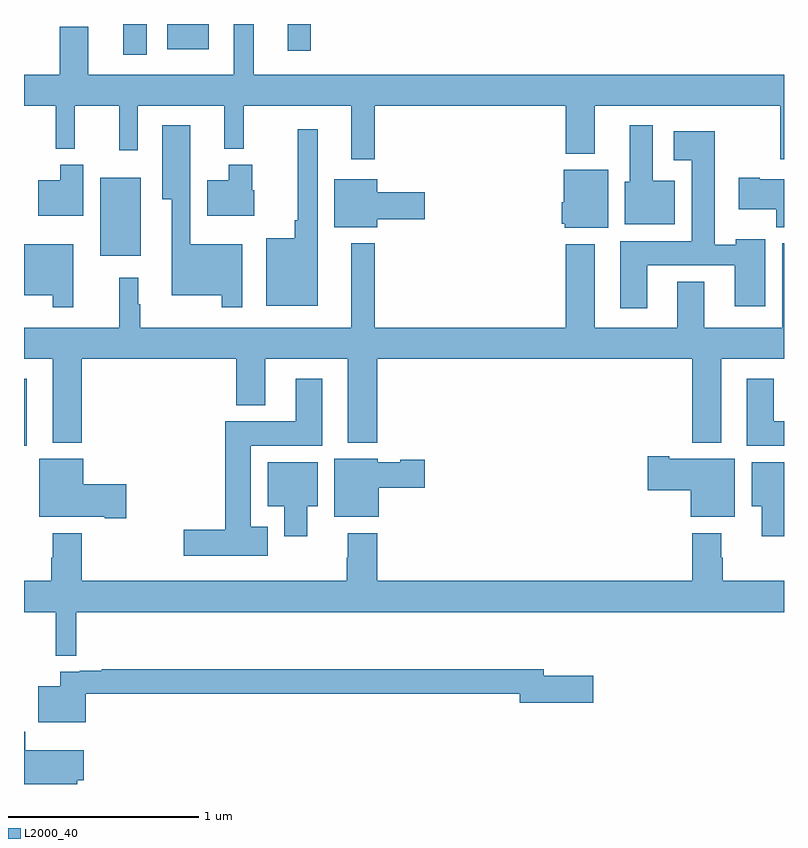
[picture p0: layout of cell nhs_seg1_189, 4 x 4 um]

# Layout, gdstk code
import gdstk
lib = gdstk.Library(unit=1e-6, precision=1e-09)
def R(c, l, rs):  # rectangles x0, y0, x1, y1
    for r in rs: c.add(gdstk.rectangle(r[:2], r[2:], *l))
def P(c, l, *ps):  # polygons
    for p in ps: c.add(gdstk.Polygon(p, *l))
L2000_40 = (2000, 40)

nhs_seg1_189 = lib.new_cell('nhs_seg1_189')
R(nhs_seg1_189, L2000_40, [(121,513.98,121.015,514.333), (121.4,514.979,121.615,515.389), (121.523,516.036,121.645,516.199), (122.387,516.057,122.509,516.199), (121.755,516.065,121.972,516.199)])
P(nhs_seg1_189, L2000_40, [(122.845,515.768),(123.851,515.768),(123.851,515.516),(124.003,515.516),(124.003,515.768),(124.981,515.768),(124.981,515.487),(125,515.487),(125,515.932),(122.209,515.932),(122.209,516.199),(122.105,516.199),(122.105,515.932),(121.339,515.932),(121.339,516.184),(121.187,516.184),(121.187,515.932),(121,515.932),(121,515.768),(121.166,515.768),(121.166,515.543),(121.266,515.543),(121.266,515.768),(121.501,515.768),(121.501,515.535),(121.599,515.535),(121.599,515.768),(122.054,515.768),(122.054,515.543),(122.156,515.543),(122.156,515.768),(122.723,515.768),(122.723,515.487),(122.845,515.487)],
  [(122.148,515.041),(121.876,515.041),(121.876,515.665),(121.727,515.665),(121.727,515.276),(121.778,515.276),(121.778,514.772),(122.04,514.772),(122.04,514.707),(122.148,514.707)],
  [(124.426,515.374),(124.309,515.374),(124.309,515.665),(124.187,515.665),(124.187,515.37),(124.163,515.37),(124.163,515.144),(124.426,515.144)],
  [(122.545,515.644),(122.441,515.644),(122.441,515.167),(122.424,515.167),(122.424,515.071),(122.276,515.071),(122.276,514.715),(122.545,514.715)],
  [(124.279,514.928),(124.742,514.928),(124.742,514.713),(124.9,514.713),(124.9,515.065),(124.746,515.065),(124.746,515.038),(124.636,515.038),(124.636,515.635),(124.419,515.635),(124.419,515.483),(124.514,515.483),(124.514,515.056),(124.139,515.056),(124.139,514.704),(124.279,514.704)],
  [(122.212,515.325),(122.2,515.325),(122.2,515.458),(122.078,515.458),(122.078,515.377),(121.964,515.377),(121.964,515.189),(122.212,515.189)],
  [(121.312,515.458),(121.19,515.458),(121.19,515.377),(121.076,515.377),(121.076,515.189),(121.312,515.189)],
  [(124.075,515.431),(123.842,515.431),(123.842,515.262),(123.83,515.262),(123.83,515.148),(123.846,515.148),(123.846,515.126),(124.075,515.126)],
  [(125,515.383),(124.873,515.383),(124.873,515.391),(124.761,515.391),(124.761,515.225),(124.958,515.225),(124.958,515.129),(125,515.129)],
  [(122.86,515.171),(123.109,515.171),(123.109,515.313),(122.86,515.313),(122.86,515.383),(122.633,515.383),(122.633,515.129),(122.86,515.129)],
  [(121.304,514.436),(122.117,514.436),(122.117,514.193),(122.269,514.193),(122.269,514.436),(122.705,514.436),(122.705,513.995),(122.858,513.995),(122.858,514.436),(124.517,514.436),(124.517,513.995),(124.669,513.995),(124.669,514.436),(125,514.436),(125,515.044),(124.991,515.044),(124.991,514.6),(124.579,514.6),(124.579,514.843),(124.439,514.843),(124.439,514.6),(124.003,514.6),(124.003,515.041),(123.851,515.041),(123.851,514.6),(122.845,514.6),(122.845,515.044),(122.723,515.044),(122.723,514.6),(121.612,514.6),(121.612,514.724),(121.6,514.724),(121.6,514.864),(121.501,514.864),(121.501,514.6),(121,514.6),(121,514.436),(121.151,514.436),(121.151,513.995),(121.304,513.995)],
  [(121.26,515.041),(121,515.041),(121,514.772),(121.152,514.772),(121.152,514.707),(121.26,514.707)],
  [(122.284,513.553),(122.194,513.553),(122.194,513.98),(122.569,513.98),(122.569,514.333),(122.429,514.333),(122.429,514.108),(122.06,514.108),(122.06,513.536),(121.842,513.536),(121.842,513.401),(122.284,513.401)],
  [(125,514.108),(124.945,514.108),(124.945,514.333),(124.805,514.333),(124.805,513.98),(125,513.98)],
  [(124.741,513.91),(124.396,513.91),(124.396,513.923),(124.284,513.923),(124.284,513.745),(124.508,513.745),(124.508,513.605),(124.741,513.605)],
  [(122.866,513.758),(123.109,513.758),(123.109,513.905),(122.979,513.905),(122.979,513.892),(122.862,513.892),(122.862,513.91),(122.633,513.91),(122.633,513.605),(122.866,513.605)],
  [(121.537,513.776),(121.312,513.776),(121.312,513.91),(121.079,513.91),(121.079,513.605),(121.424,513.605),(121.424,513.597),(121.537,513.597)],
  [(125,513.892),(124.829,513.892),(124.829,513.662),(124.883,513.662),(124.883,513.504),(125,513.504)],
  [(122.491,513.662),(122.545,513.662),(122.545,513.892),(122.282,513.892),(122.282,513.662),(122.369,513.662),(122.369,513.504),(122.491,513.504)],
  [(121.274,513.104),(125,513.104),(125,513.268),(124.677,513.268),(124.677,513.389),(124.669,513.389),(124.669,513.52),(124.517,513.52),(124.517,513.268),(122.858,513.268),(122.858,513.52),(122.705,513.52),(122.705,513.389),(122.698,513.389),(122.698,513.268),(121.304,513.268),(121.304,513.52),(121.151,513.52),(121.151,513.389),(121.144,513.389),(121.144,513.268),(121,513.268),(121,513.104),(121.166,513.104),(121.166,512.875),(121.274,512.875)],
  [(121.325,512.674),(123.608,512.674),(123.608,512.627),(123.997,512.627),(123.997,512.769),(123.736,512.769),(123.736,512.803),(121.408,512.803),(121.408,512.796),(121.294,512.796),(121.294,512.79),(121.19,512.79),(121.19,512.713),(121.076,512.713),(121.076,512.525),(121.325,512.525)],
  [(121.28,512.219),(121.315,512.219),(121.315,512.377),(121.007,512.377),(121.007,512.473),(121,512.473),(121,512.199),(121.28,512.199)])

lib.write_gds('nhs_seg1_189.gds')
